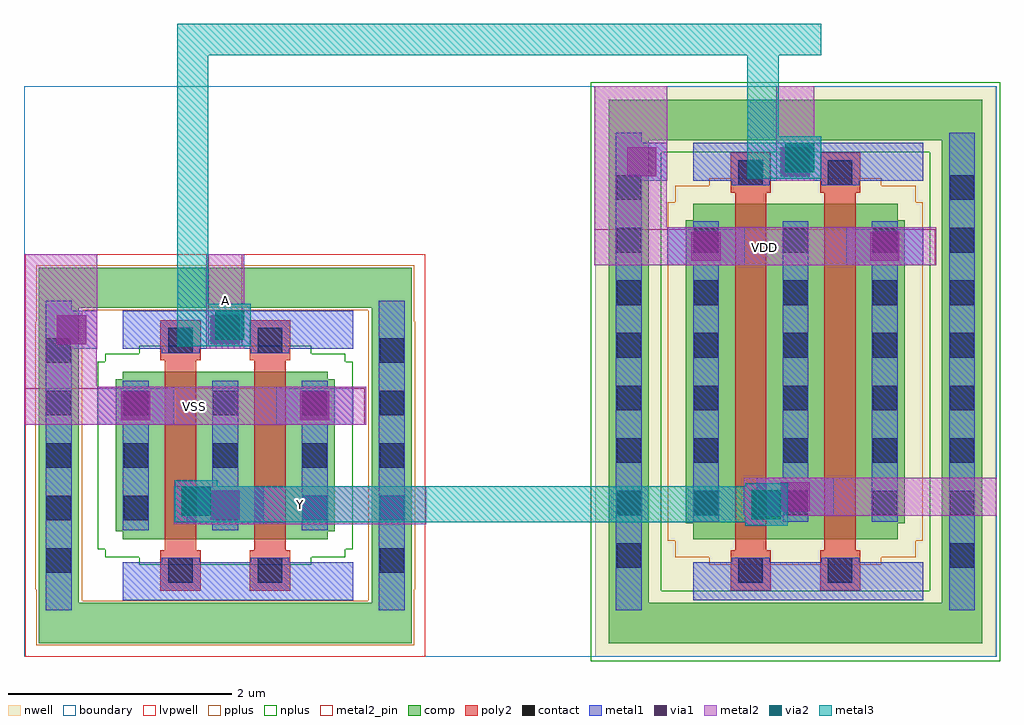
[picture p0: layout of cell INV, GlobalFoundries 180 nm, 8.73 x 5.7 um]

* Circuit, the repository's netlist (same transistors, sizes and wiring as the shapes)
* Smallest cell that exercises the whole cicpy gf180mcuD path: two
* devices, four nets, one of them a supply.  Sized 2:1 for a symmetric
* transition, not for any Tape-out 1 requirement.
*
* Finger widths are 1.5 um and 3.0 um.  The gf180 primitive provider
* needs at least 1.2 um per finger to fit two M2 source/drain straps
* between the contact ends; see cicpy_gf180.MIN_FINGER_UNITS.
.subckt INV A Y VDD VSS
XN Y A VSS VSS nfet_03v3 W=3u L=0.28u nf=2 m=1
XP Y A VDD VDD pfet_03v3 W=6u L=0.28u nf=2 m=1
.ends INV

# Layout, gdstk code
import gdstk
lib = gdstk.Library(unit=1e-6, precision=1e-09)
def R(c, l, rs):  # rectangles x0, y0, x1, y1
    for r in rs: c.add(gdstk.rectangle(r[:2], r[2:], *l))
def A(c, l, x, y, w, h, nx, ny, dx, dy):  # array of equal rectangles
    R(c, l, [(x+i*dx, y+j*dy, x+i*dx+w, y+j*dy+h) for i in range(nx) for j in range(ny)])
boundary = (0, 0)
nwell = (21, 0)
comp = (22, 0)
poly2 = (30, 0)
pplus = (31, 0)
nplus = (32, 0)
contact = (33, 0)
metal1 = (34, 0)
via1 = (35, 0)
metal2 = (36, 0)
metal2_pin = (36, 10)
via2 = (38, 0)
metal3 = (42, 0)
lvpwell = (204, 0)

nfet03v3_w1p5_l0p28_nf2 = lib.new_cell('NFET03V3_W1p5_L0p28_NF2')
R(nfet03v3_w1p5_l0p28_nf2, boundary, [(-1.8,-1.8,1.8,1.8)])
R(nfet03v3_w1p5_l0p28_nf2, comp, [(-1.67,-1.68,1.67,-1.32), (-1.67,-1.32,-1.31,1.32), (1.31,-1.32,1.67,1.32), (-0.915,-0.75,0.915,-0.68), (-0.98,-0.68,0.98,0.68), (-0.915,0.68,0.915,0.75), (-1.67,1.32,1.67,1.68)])
R(nfet03v3_w1p5_l0p28_nf2, poly2, [(-0.58,-1.21,-0.22,-0.85), (0.22,-1.21,0.58,-0.85), (-0.54,-0.85,-0.26,0.85), (0.26,-0.85,0.54,0.85), (-0.58,0.85,-0.22,1.21), (0.22,0.85,0.58,1.21)])
R(nfet03v3_w1p5_l0p28_nf2, pplus, [(-1.69,-1.7,1.69,-1.3), (-1.69,-1.3,-1.28,-1.195), (1.28,-1.3,1.69,-1.195), (-1.7,-1.195,-1.28,1.195), (1.28,-1.195,1.7,1.195), (-1.69,1.195,-1.28,1.3), (1.28,1.195,1.69,1.3), (-1.69,1.3,1.69,1.7)])
R(nfet03v3_w1p5_l0p28_nf2, nplus, [(-0.77,-0.98,0.77,-0.91), (-1.075,-0.91,1.075,-0.84), (-1.14,-0.84,1.14,0.84), (-1.075,0.84,1.075,0.91), (-0.77,0.91,0.77,0.98)])
A(nfet03v3_w1p5_l0p28_nf2, contact, -1.6, -1.05, 0.22, 0.22, 1, 5, 0, 0.47)
A(nfet03v3_w1p5_l0p28_nf2, contact, 1.38, -1.05, 0.22, 0.22, 1, 5, 0, 0.47)
A(nfet03v3_w1p5_l0p28_nf2, contact, -0.91, -0.58, 0.22, 0.22, 3, 3, 0.8, 0.47)
R(nfet03v3_w1p5_l0p28_nf2, contact, [(-0.51,-1.14,-0.29,-0.92), (0.29,-1.14,0.51,-0.92), (-0.51,0.92,-0.29,1.14), (0.29,0.92,0.51,1.14)])
R(nfet03v3_w1p5_l0p28_nf2, metal1, [(-1.605,-1.385,-1.375,0.955), (1.375,-1.385,1.605,1.385), (-0.915,-1.295,1.145,-0.955), (-0.57,-0.955,-0.23,-0.915), (0.23,-0.955,0.57,-0.915), (-0.915,-0.67,-0.685,0.275), (-0.115,-0.67,0.115,-0.615), (0.685,-0.67,0.915,0.275), (-0.345,-0.615,0.345,-0.275), (-0.115,-0.275,0.115,0.67), (-1.145,0.275,-0.455,0.615), (0.455,0.275,1.145,0.615), (-0.915,0.615,-0.685,0.67), (0.685,0.615,0.915,0.67), (-0.57,0.915,-0.23,0.955), (0.23,0.915,0.57,0.955), (-1.605,0.955,-1.145,1.295), (-0.915,0.955,1.145,1.295), (-1.605,1.295,-1.375,1.385)])
R(nfet03v3_w1p5_l0p28_nf2, via1, [(-0.13,-0.575,0.13,-0.315), (-0.93,0.315,-0.67,0.575), (0.67,0.315,0.93,0.575), (-1.505,0.995,-1.245,1.255), (-0.13,0.995,0.13,1.255)])
R(nfet03v3_w1p5_l0p28_nf2, metal2, [(-0.46,-0.615,1.8,-0.275), (-1.8,0.275,1.26,0.615), (-1.8,0.955,-1.145,1.8), (-0.17,0.955,0.17,1.8)])
R(nfet03v3_w1p5_l0p28_nf2, lvpwell, [(-1.79,-1.8,1.79,1.8)])

pfet03v3_w3_l0p28_nf2 = lib.new_cell('PFET03V3_W3_L0p28_NF2')
R(pfet03v3_w3_l0p28_nf2, boundary, [(-1.8,-2.55,1.8,2.55)])
R(pfet03v3_w3_l0p28_nf2, nwell, [(-1.79,-2.55,1.79,2.55)])
R(pfet03v3_w3_l0p28_nf2, comp, [(-1.67,-2.43,1.67,-2.07), (-1.67,-2.07,-1.31,2.07), (1.31,-2.07,1.67,2.07), (-0.915,-1.5,0.915,-1.355), (-0.98,-1.355,0.98,1.355), (-0.915,1.355,0.915,1.5), (-1.67,2.07,1.67,2.43)])
R(pfet03v3_w3_l0p28_nf2, poly2, [(-0.58,-1.96,-0.22,-1.6), (0.22,-1.96,0.58,-1.6), (-0.54,-1.6,-0.26,1.6), (0.26,-1.6,0.54,1.6), (-0.58,1.6,-0.22,1.96), (0.22,1.6,0.58,1.96)])
R(pfet03v3_w3_l0p28_nf2, pplus, [(-0.77,-1.73,0.77,-1.66), (-1.075,-1.66,1.075,-1.515), (-1.14,-1.515,1.14,1.515), (-1.075,1.515,1.075,1.66), (-0.77,1.66,0.77,1.73)])
R(pfet03v3_w3_l0p28_nf2, nplus, [(-1.83,-2.59,1.83,-1.96), (-1.83,-1.96,-1.2,1.96), (1.2,-1.96,1.83,1.96), (-1.83,1.96,1.83,2.59)])
A(pfet03v3_w3_l0p28_nf2, contact, -1.6, -1.755, 0.22, 0.22, 1, 8, 0, 0.47)
A(pfet03v3_w3_l0p28_nf2, contact, 1.38, -1.755, 0.22, 0.22, 1, 8, 0, 0.47)
A(pfet03v3_w3_l0p28_nf2, contact, -0.91, -1.285, 0.22, 0.22, 3, 6, 0.8, 0.47)
R(pfet03v3_w3_l0p28_nf2, contact, [(-0.51,-1.89,-0.29,-1.67), (0.29,-1.89,0.51,-1.67), (-0.51,1.67,-0.29,1.89), (0.29,1.67,0.51,1.89)])
R(pfet03v3_w3_l0p28_nf2, metal1, [(-1.605,-2.135,-1.375,1.705), (1.375,-2.135,1.605,2.135), (-0.915,-2.045,1.145,-1.705), (-0.57,-1.705,-0.23,-1.665), (0.23,-1.705,0.57,-1.665), (-0.915,-1.345,-0.685,0.95), (-0.115,-1.345,0.115,-1.29), (0.685,-1.345,0.915,0.95), (-0.345,-1.29,0.345,-0.95), (-0.115,-0.95,0.115,1.345), (-1.145,0.95,-0.455,1.29), (0.455,0.95,1.145,1.29), (-0.915,1.29,-0.685,1.345), (0.685,1.29,0.915,1.345), (-0.57,1.665,-0.23,1.705), (0.23,1.665,0.57,1.705), (-1.605,1.705,-1.145,2.045), (-0.915,1.705,1.145,2.045), (-1.605,2.045,-1.375,2.135)])
R(pfet03v3_w3_l0p28_nf2, via1, [(-0.13,-1.25,0.13,-0.99), (-0.93,0.99,-0.67,1.25), (0.67,0.99,0.93,1.25), (-1.505,1.745,-1.245,2.005), (-0.13,1.745,0.13,2.005)])
R(pfet03v3_w3_l0p28_nf2, metal2, [(-0.46,-1.29,1.8,-0.95), (-1.8,0.95,1.26,1.29), (-1.8,1.705,-1.145,2.55), (-0.17,1.705,0.17,2.55)])

inv = lib.new_cell('INV')
R(inv, boundary, [(0,0,8.7,5.1)])
R(inv, metal2, [(6.45,1.17,6.83,1.55), (1.35,1.2,3.6,1.525), (1.35,1.525,1.73,1.58), (0,2.075,3.05,2.4), (0,2.4,0.65,3.6), (1.65,2.775,2.03,3.155), (1.65,3.155,1.95,3.6), (5.1,3.5,8.15,3.825), (5.1,3.825,5.75,5.1), (6.75,4.275,7.13,4.655)])
R(inv, metal2_pin, [(1.35,1.2,3.6,1.525), (0,2.075,3.05,2.4), (1.65,2.775,1.95,3.6), (5.1,3.5,8.15,3.825)])
R(inv, via2, [(6.51,1.23,6.77,1.49), (1.41,1.26,1.67,1.52), (1.71,2.835,1.97,3.095), (6.81,4.335,7.07,4.595)])
R(inv, metal3, [(6.45,1.17,6.83,1.2), (1.35,1.2,6.83,1.525), (1.35,1.525,1.73,1.58), (6.45,1.525,6.83,1.55), (1.37,2.775,2.03,3.155), (1.37,3.155,1.65,5.38), (6.47,4.275,7.13,4.655), (6.47,4.655,6.75,5.38), (1.37,5.38,7.13,5.66)])
inv.add(gdstk.Reference(nfet03v3_w1p5_l0p28_nf2, (1.8,1.8)))
inv.add(gdstk.Reference(pfet03v3_w3_l0p28_nf2, (6.9,2.55)))
inv.add(gdstk.Label('A', (1.8,3.187), layer=36, texttype=10))
inv.add(gdstk.Label('Y', (2.475,1.362), layer=36, texttype=10))
inv.add(gdstk.Label('VDD', (6.625,3.662), layer=36, texttype=10))
inv.add(gdstk.Label('VSS', (1.525,2.237), layer=36, texttype=10))

lib.write_gds('INV.gds')
